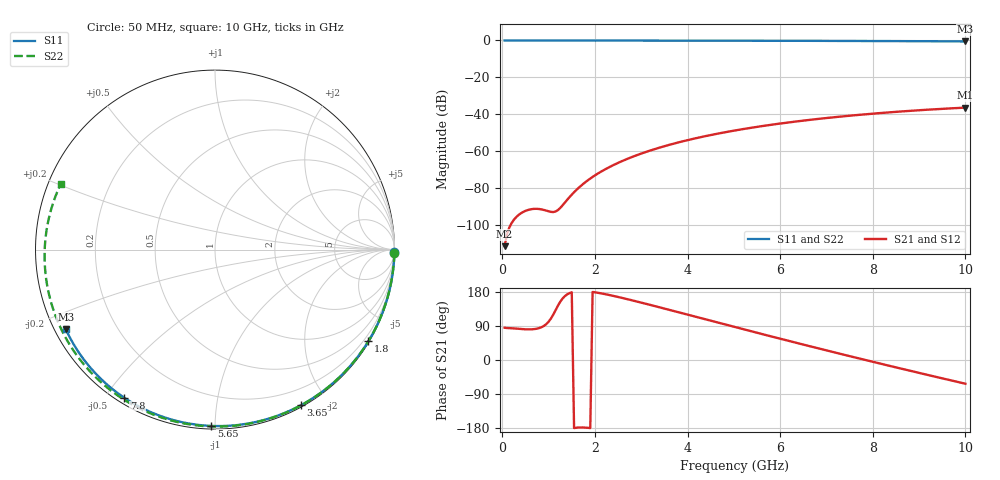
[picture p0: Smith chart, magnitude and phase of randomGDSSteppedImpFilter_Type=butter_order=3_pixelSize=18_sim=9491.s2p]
! freq	dB(S11)	phase(S11)	dB(S12)	phase(S12)
!  dB(S21)	phase(S21)	dB(S22)	phase(S22)
!S-par simulation data
#  GHz  S  DB  R 50
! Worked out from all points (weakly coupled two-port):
!   200 points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, 50 MHz to 10 GHz, reference 50 ohm
!   highest |S21| = -36.37 dB at 10 GHz (marker M1); lowest = -111.4 dB at 50 MHz (marker M2)
!   lowest |S11| = -0.5 dB at 10 GHz (marker M3), VSWR 33.68, Z = 1.58 - j12.5 ohm
!   |S11| at or under -10 dB: nowhere
!   |S22| runs from -0.6 to 0.0 dB; largest |S21 - S12| = 0
!   S11 on the Smith chart (normalised r, x): 50 MHz: open; 1.8 GHz: 0.03, -3.62; 3.65 GHz: 0.02, -1.70; 5.65 GHz: 0.02, -0.98; 7.8 GHz: 0.02, -0.56; 10 GHz: 0.03, -0.25
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0.05  -0.00 -0.8  -111.40 85.1  -111.40 85.1  -0.00 -1.2
0.45  -0.01 -7.8  -92.88 81.3  -92.88 81.3  -0.02 -10.9
0.8  -0.02 -13.9  -91.29 84.4  -91.29 84.4  -0.02 -19.4
1.2  -0.03 -20.7  -91.88 143.0  -91.88 143.0  -0.04 -28.9
1.6  -0.03 -27.5  -80.93 -178.7  -80.93 -178.7  -0.05 -38.3
1.65  -0.04 -28.3  -79.76 -178.1  -79.76 -178.1  -0.05 -39.4
1.75  -0.04 -30.0  -77.61 -178.1  -77.61 -178.1  -0.05 -41.8
1.8  -0.04 -30.9  -76.61 -178.4  -76.61 -178.4  -0.05 -42.9
2.1  -0.05 -35.9  -71.52 176.6  -71.52 176.6  -0.06 -49.8
2.5  -0.05 -42.5  -66.29 166.4  -66.29 166.4  -0.07 -58.7
2.9  -0.06 -49.0  -62.16 154.5  -62.16 154.5  -0.09 -67.5
3.4  -0.08 -57.1  -58.00 138.9  -58.00 138.9  -0.10 -78.2
3.65  -0.08 -61.0  -56.22 131.0  -56.22 131.0  -0.11 -83.4
4.35  -0.10 -71.9  -52.00 108.5  -52.00 108.5  -0.14 -97.6
5.05  -0.13 -82.4  -48.63 86.1  -48.63 86.1  -0.17 -111.2
5.65  -0.15 -91.2  -46.23 67.2  -46.23 67.2  -0.20 -122.5
6.7  -0.21 -106.2  -42.82 34.5  -42.82 34.5  -0.27 -141.8
7.25  -0.24 -113.9  -41.36 17.8  -41.36 17.8  -0.31 -151.7
7.8  -0.28 -121.5  -40.07 1.2  -40.07 1.2  -0.36 -161.7
8.35  -0.33 -129.1  -38.94 -15.1  -38.94 -15.1  -0.41 -171.7
9.2  -0.42 -140.8  -37.47 -39.8  -37.47 -39.8  -0.50 172.5
10  -0.52 -151.9  -36.37 -62.6  -36.37 -62.6  -0.59 157.0
